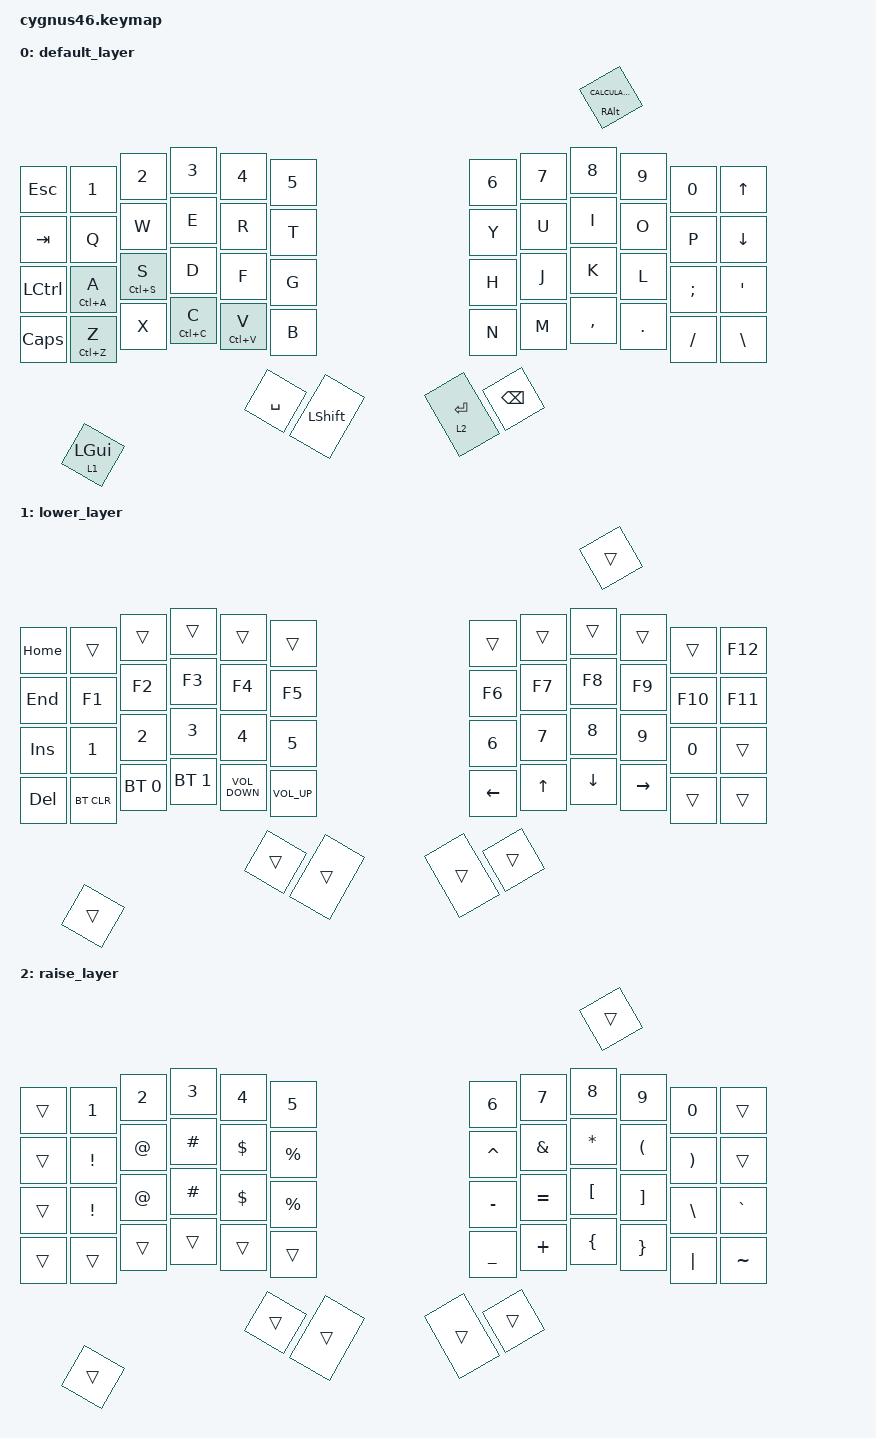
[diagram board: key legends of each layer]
#include <behaviors.dtsi>
#include <dt-bindings/zmk/bt.h>
#include <dt-bindings/zmk/keys.h>

/ {
    keymap {
        compatible = "zmk,keymap";

        default_layer {
            // -----------------------------------------------------------------------------------------
            // |  ESC |  1  |  2  |  3  |  4  |  5  |   |  6  |  7   |  8  |  9  |  0  |  ?   |
            // |  TAB |  Q  |  W  |  E  |  R  |  T  |   |  Y  |  U   |  I  |  O  |  P  | BKSP |
            // | CTRL |  A  |  S  |  D  |  F  |  G  |   |  H  |  J   |  K  |  L  |  ;  |  '   |
            // | SHFT |  Z  |  X  |  C  |  V  |  B  |   |  N  |  M   |  ,  |  .  |  /  | ESC  |
            //                    | GUI | LWR | SPC |   | ENT | RSE  | ALT |

            bindings = <
&kp ESC       &kp N1       &kp N2       &kp N3          &kp N4       &kp N5            &kp N6       &kp N7         &kp N8                 &kp N9   &kp N0    &kp UP_ARROW
&kp TAB       &kp Q        &kp W        &kp E           &kp R        &kp T             &kp Y        &kp U          &kp I                  &kp O    &kp P     &kp DOWN
&kp LCTRL     &mt LC(A) A  &mt LC(S) S  &kp D           &kp F        &kp G             &kp H        &kp J          &kp K                  &kp L    &kp SEMI  &kp SQT
&kp CAPSLOCK  &mt LC(Z) Z  &kp X        &mt LC(C) C     &mt LC(V) V  &kp B             &kp N        &kp M          &kp COMMA              &kp DOT  &kp FSLH  &kp BACKSLASH
                                        &lt 1 LEFT_GUI  &kp SPACE    &kp LEFT_SHIFT    &lt 2 ENTER  &kp BACKSPACE  &mt RALT K_CALCULATOR
            >;
        };

        lower_layer {
            // -----------------------------------------------------------------------------------------
            // |  TAB |  F1 |  F2 |  F3 |  F4 |  F5 |   |  F6 |  F7 |  F8 |  F9 | F10 | BKSP |
            // |  TAB |  1  |  2  |  3  |  4  |  5  |   |  6  |  7  |  8  |  9  |  0  | BKSP |
            // | BTCLR| BT1 | BT2 | BT3 | BT4 | BT5 |   | LFT | DWN |  UP | RGT |     |      |
            // | SHFT |     |     |     |     |     |   |     |     |     |     |     |      |
            //                    | GUI |     | SPC |   | ENT |     | ALT |

            bindings = <
&kp HOME    &trans      &trans        &trans        &trans             &trans             &trans          &trans        &trans          &trans     &trans   &kp F12
&kp END     &kp F1      &kp F2        &kp F3        &kp F4             &kp F5             &kp F6          &kp F7        &kp F8          &kp F9     &kp F10  &kp F11
&kp INS     &kp N1      &kp NUMBER_2  &kp NUMBER_3  &kp NUMBER_4       &kp N5             &kp N6          &kp N7        &kp N8          &kp N9     &kp N0   &trans
&kp DELETE  &bt BT_CLR  &bt BT_SEL 0  &bt BT_SEL 1  &kp K_VOLUME_DOWN  &kp K_VOLUME_UP    &kp LEFT_ARROW  &kp UP_ARROW  &kp DOWN_ARROW  &kp RIGHT  &trans   &trans
                                      &trans        &trans             &trans             &trans          &trans        &trans
            >;
        };

        raise_layer {
            // -----------------------------------------------------------------------------------------
            // |  TAB |  !  |  @  |  #  |  $  |  %  |   |  ^  |  &  |  *  |  (  |  )  | BKSP |
            // | CTRL |     |     |     |     |     |   |  -  |  =  |  [  |  ]  |  \  |  `   |
            // | SHFT |     |     |     |     |     |   |  _  |  +  |  {  |  }  | "|" |  ~   |
            //                    | GUI |     | SPC |   | ENT |     | ALT |

            bindings = <
&trans  &kp N1           &kp N2       &kp N3    &kp N4      &kp N5         &kp N6     &kp N7     &kp N8     &kp N9    &kp N0    &trans
&trans  &kp EXCL         &kp AT       &kp HASH  &kp DLLR    &kp PRCNT      &kp CARET  &kp AMPS   &kp ASTRK  &kp LPAR  &kp RPAR  &trans
&trans  &kp EXCLAMATION  &kp AT_SIGN  &kp HASH  &kp DOLLAR  &kp PERCENT    &kp MINUS  &kp EQUAL  &kp LBKT   &kp RBKT  &kp BSLH  &kp GRAVE
&trans  &trans           &trans       &trans    &trans      &trans         &kp UNDER  &kp PLUS   &kp LBRC   &kp RBRC  &kp PIPE  &kp TILDE
                                      &trans    &trans      &trans         &trans     &trans     &trans
            >;
        };
    };
};
